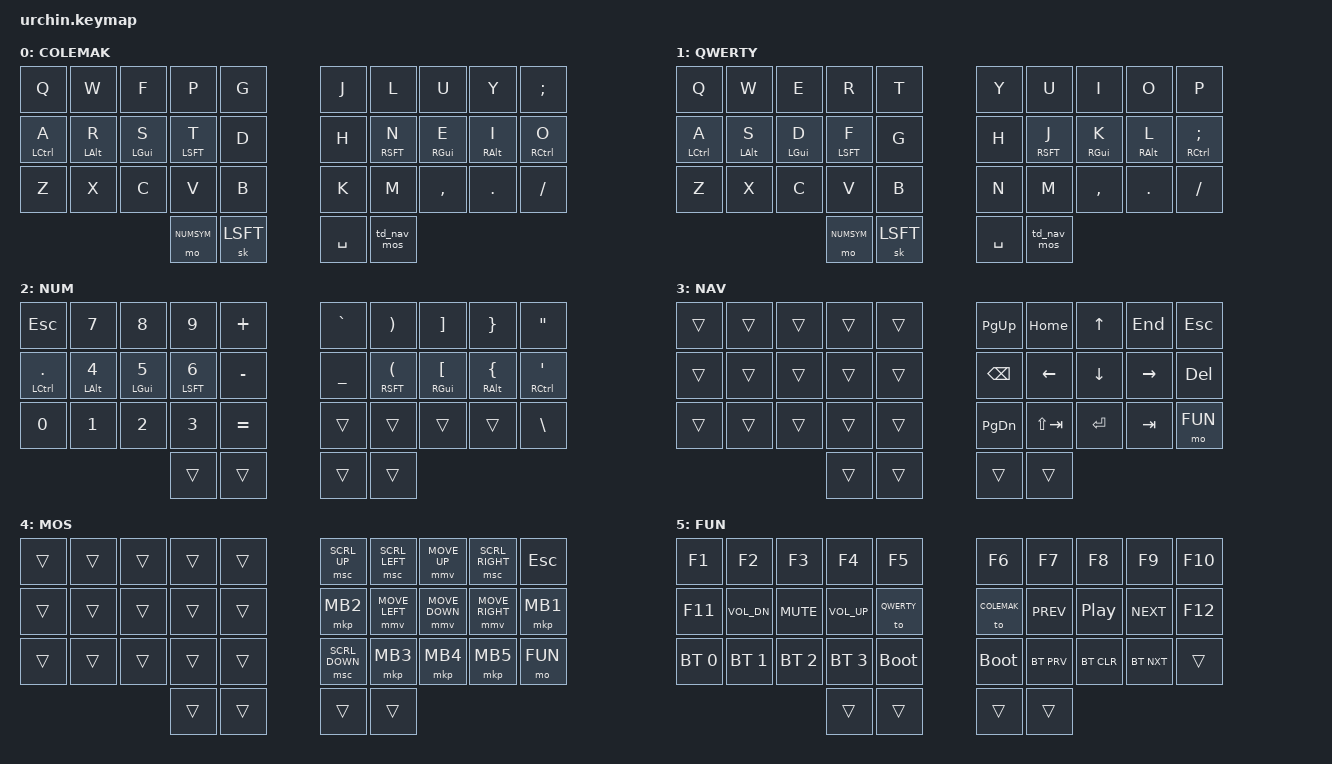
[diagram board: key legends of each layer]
#include <behaviors.dtsi>
#include <dt-bindings/zmk/keys.h>
#include <dt-bindings/zmk/bt.h>
#define ZMK_POINTING_DEFAULT_MOVE_VAL 900  // default: 600
#define ZMK_POINTING_DEFAULT_SCRL_VAL 20    // default: 10
#include <dt-bindings/zmk/pointing.h>

/*  0  1  2  3  4        5  6  7  8  9 */
/* 10 11 12 13 14       15 16 17 18 19 */
/* 20 21 22 23 24       25 26 27 28 29 */
/*             30 31 32 33             */

#define LH_KEYS  0  1  2  3  4 \
                10 11 12 13 14 \
                20 21 22 23 24 \

#define RH_KEYS  5  6  7  8 9 \
                15 16 17 18 19 \
                25 26 27 28 29 \

#define T_KEYS 30 31 32 33

#define COLEMAK 0
#define QWERTY 1
#define NUMSYM 2
#define NAV 3
#define MOS 4
#define FUN 5

/ {
  behaviors {
    hml: homerow_mod_left {
      compatible = "zmk,behavior-hold-tap";
      #binding-cells = <2>;
      flavor = "balanced";
      require-prior-idle-ms = <150>;
      tapping-term-ms = <280>;
      quick-tap-ms = <175>;
      bindings = <&kp>, <&kp>;
      hold-trigger-key-positions = <RH_KEYS T_KEYS>;
      hold-trigger-on-release;
    };
    hmr: homerow_mod_right {
      compatible = "zmk,behavior-hold-tap";
      #binding-cells = <2>;
      flavor = "balanced";
      require-prior-idle-ms = <150>;
      tapping-term-ms = <280>;
      quick-tap-ms = <175>;
      bindings = <&kp>, <&kp>;
      hold-trigger-key-positions = <LH_KEYS T_KEYS>;
      hold-trigger-on-release;
    };
    td_nav_mos: tap_dance_navigation_mouse {
      compatible = "zmk,behavior-tap-dance";
      #binding-cells = <0>;
      tapping-term-ms = <250>;
      bindings = <&mo NAV>, <&mo MOS>;
    };
  };
  combos {
    compatible = "zmk,combos";
    combo_caps_word {
      timeout-ms = <25>;
      key-positions = <13 16>;
      bindings = <&caps_word>;
      layers = <QWERTY COLEMAK>;
    };
  };

  keymap {
    compatible = "zmk,keymap";
    colemak_layer {
      label = "COLEMAK";
      bindings = <
    /* |—————————————————|—————————————————|—————————————————|—————————————————|—————————————————|                                   |—————————————————|—————————————————|—————————————————|—————————————————|—————————————————| */
        &kp Q             &kp W             &kp F             &kp P             &kp G                                                 &kp J             &kp L             &kp U             &kp Y             &kp SEMI
    /* |—————————————————|—————————————————|—————————————————|—————————————————|—————————————————|                                   |—————————————————|—————————————————|—————————————————|—————————————————|—————————————————| */
        &hml LCTL A       &hml LALT R       &hml LGUI S       &hml LSFT T       &kp D                                                 &kp H             &hmr RSFT N       &hmr RGUI E       &hmr RALT I       &hmr RCTL O
    /* |—————————————————|—————————————————|—————————————————|—————————————————|—————————————————|                                   |—————————————————|—————————————————|—————————————————|—————————————————|—————————————————| */
        &kp Z             &kp X             &kp C             &kp V             &kp B                                                 &kp K             &kp M             &kp COMMA         &kp DOT           &kp FSLH
    /* |—————————————————|—————————————————|—————————————————|—————————————————|—————————————————|—————————————————|—————————————————|—————————————————|—————————————————|—————————————————|—————————————————|—————————————————| */
                                                                                &mo NUMSYM        &sk LSFT          &kp SPACE         &td_nav_mos
    /*                                                                         |—————————————————|—————————————————|—————————————————|—————————————————|                                                                         */
      >;
    };
    qwerty_layer {
      label = "QWERTY";
      bindings = <
    /* |—————————————————|—————————————————|—————————————————|—————————————————|—————————————————|                                   |—————————————————|—————————————————|—————————————————|—————————————————|—————————————————| */
        &kp Q             &kp W             &kp E             &kp R             &kp T                                                 &kp Y             &kp U             &kp I             &kp O             &kp P
    /* |—————————————————|—————————————————|—————————————————|—————————————————|—————————————————|                                   |—————————————————|—————————————————|—————————————————|—————————————————|—————————————————| */
        &hml LCTL A       &hml LALT S       &hml LGUI D       &hml LSFT F       &kp G                                                 &kp H             &hmr RSFT J       &hmr RGUI K       &hmr RALT L       &hmr RCTL SEMI
    /* |—————————————————|—————————————————|—————————————————|—————————————————|—————————————————|                                   |—————————————————|—————————————————|—————————————————|—————————————————|—————————————————| */
        &kp Z             &kp X             &kp C             &kp V             &kp B                                                 &kp N             &kp M             &kp COMMA         &kp DOT           &kp FSLH
    /* |—————————————————|—————————————————|—————————————————|—————————————————|—————————————————|—————————————————|—————————————————|—————————————————|—————————————————|—————————————————|—————————————————|—————————————————| */
                                                                                &mo NUMSYM        &sk LSFT          &kp SPACE         &td_nav_mos
    /*                                                                         |—————————————————|—————————————————|—————————————————|—————————————————|                                                                         */
      >;
    };
    number_layer {
      label = "NUM";
      bindings = <
    /* |—————————————————|—————————————————|—————————————————|—————————————————|—————————————————|                                   |—————————————————|—————————————————|—————————————————|—————————————————|—————————————————| */
        &kp ESC           &kp N7            &kp N8            &kp N9            &kp PLUS                                              &kp GRAVE         &kp RPAR          &kp RBKT          &kp RBRC          &kp DQT
    /* |—————————————————|—————————————————|—————————————————|—————————————————|—————————————————|                                   |—————————————————|—————————————————|—————————————————|—————————————————|—————————————————| */
        &hml LCTL PERIOD  &hml LALT N4      &hml LGUI N5      &hml LSFT N6      &kp MINUS                                             &kp UNDER         &hml RSFT LPAR    &hmr RGUI LBKT    &hmr RALT LBRC    &hmr RCTL SQT
    /* |—————————————————|—————————————————|—————————————————|—————————————————|—————————————————|                                   |—————————————————|—————————————————|—————————————————|—————————————————|—————————————————| */
        &kp N0            &kp N1            &kp N2            &kp N3            &kp EQUAL                                             &trans            &trans            &trans            &trans            &kp BSLH
    /* |—————————————————|—————————————————|—————————————————|—————————————————|—————————————————|—————————————————|—————————————————|—————————————————|—————————————————|—————————————————|—————————————————|—————————————————| */
                                                                                &trans            &trans            &trans            &trans
    /*                                                                         |—————————————————|—————————————————|—————————————————|—————————————————|                                                                         */
      >;
    };
    navigation_layer {
      label = "NAV";
      bindings = <
    /* |—————————————————|—————————————————|—————————————————|—————————————————|—————————————————|                                   |—————————————————|—————————————————|—————————————————|—————————————————|—————————————————| */
        &trans            &trans            &trans            &trans            &trans                                                &kp PG_UP         &kp HOME          &kp UP            &kp END           &kp ESC
    /* |—————————————————|—————————————————|—————————————————|—————————————————|—————————————————|                                   |—————————————————|—————————————————|—————————————————|—————————————————|—————————————————| */
        &trans            &trans            &trans            &trans            &trans                                                &kp BSPC          &kp LEFT          &kp DOWN          &kp RIGHT         &kp DEL
    /* |—————————————————|—————————————————|—————————————————|—————————————————|—————————————————|                                   |—————————————————|—————————————————|—————————————————|—————————————————|—————————————————| */
        &trans            &trans            &trans            &trans            &trans                                                &kp PG_DN         &kp LS(TAB)       &kp RET           &kp TAB           &mo FUN
    /* |—————————————————|—————————————————|—————————————————|—————————————————|—————————————————|—————————————————|—————————————————|—————————————————|—————————————————|—————————————————|—————————————————|—————————————————| */
                                                                                &trans            &trans            &trans            &trans
    /*                                                                         |—————————————————|—————————————————|—————————————————|—————————————————|                                                                         */
      >;
    };
    mouse_layer {
      label = "MOS";
      bindings = <
    /* |—————————————————|—————————————————|—————————————————|—————————————————|—————————————————|                                   |—————————————————|—————————————————|—————————————————|—————————————————|—————————————————| */
        &trans            &trans            &trans            &trans            &trans                                                &msc SCRL_UP      &msc SCRL_LEFT    &mmv MOVE_UP      &msc SCRL_RIGHT   &kp ESC
    /* |—————————————————|—————————————————|—————————————————|—————————————————|—————————————————|                                   |—————————————————|—————————————————|—————————————————|—————————————————|—————————————————| */
        &trans            &trans            &trans            &trans            &trans                                                &mkp MB2          &mmv MOVE_LEFT    &mmv MOVE_DOWN    &mmv MOVE_RIGHT   &mkp MB1
    /* |—————————————————|—————————————————|—————————————————|—————————————————|—————————————————|                                   |—————————————————|—————————————————|—————————————————|—————————————————|—————————————————| */
        &trans            &trans            &trans            &trans            &trans                                                &msc SCRL_DOWN    &mkp MB3          &mkp MB4          &mkp MB5          &mo FUN
    /* |—————————————————|—————————————————|—————————————————|—————————————————|—————————————————|—————————————————|—————————————————|—————————————————|—————————————————|—————————————————|—————————————————|—————————————————| */
                                                                                &trans            &trans            &trans            &trans
    /*                                                                         |—————————————————|—————————————————|—————————————————|—————————————————|                                                                         */
      >;
    };
    function_layer {
      label = "FUN";
      bindings = <
    /* |—————————————————|—————————————————|—————————————————|—————————————————|—————————————————|                                   |—————————————————|—————————————————|—————————————————|—————————————————|—————————————————| */
        &kp F1            &kp F2            &kp F3            &kp F4            &kp F5                                                &kp F6            &kp F7            &kp F8            &kp F9            &kp F10
    /* |—————————————————|—————————————————|—————————————————|—————————————————|—————————————————|                                   |—————————————————|—————————————————|—————————————————|—————————————————|—————————————————| */
        &kp F11           &kp C_VOL_DN      &kp C_MUTE        &kp C_VOL_UP      &to QWERTY                                            &to COLEMAK       &kp C_PREV        &kp C_PP          &kp C_NEXT        &kp F12
    /* |—————————————————|—————————————————|—————————————————|—————————————————|—————————————————|                                   |—————————————————|—————————————————|—————————————————|—————————————————|—————————————————| */
        &bt BT_SEL 0      &bt BT_SEL 1      &bt BT_SEL 2      &bt BT_SEL 3      &bootloader                                           &bootloader       &bt BT_PRV        &bt BT_CLR        &bt BT_NXT        &trans
    /* |—————————————————|—————————————————|—————————————————|—————————————————|—————————————————|—————————————————|—————————————————|—————————————————|—————————————————|—————————————————|—————————————————|—————————————————| */
                                                                                &trans            &trans            &trans            &trans
    /*                                                                         |—————————————————|—————————————————|—————————————————|—————————————————|                                                                         */
      >;
    };
  };
};
